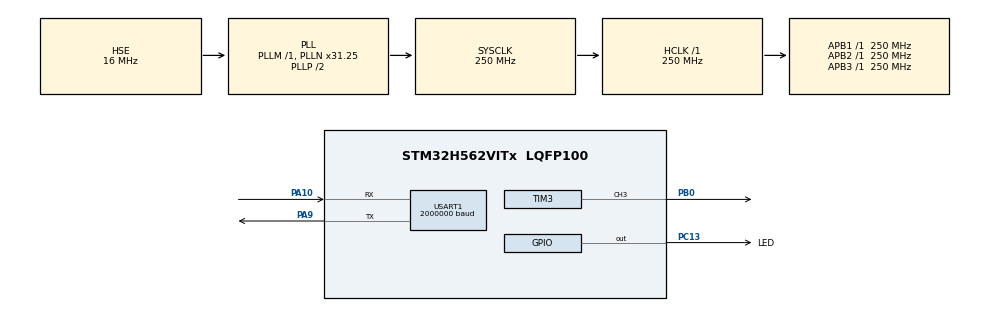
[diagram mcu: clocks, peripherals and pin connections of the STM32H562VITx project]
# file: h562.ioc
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BOOTPATH.BootPathName=LEGACY
BOOTPATH.UserSelectedBootPath=LEGACY
CORTEX_M33_NS.userName=CORTEX_M33
GPDMA1.CIRCULARMODE_GPDMACH0=ENABLE
GPDMA1.DATAHANDLING_GPDMACH0=NONE
GPDMA1.DESTDATAWIDTH_GPDMACH0=DMA_DEST_DATAWIDTH_HALFWORD
GPDMA1.DIRECTION_GPDMACH0=DMA_MEMORY_TO_PERIPH
GPDMA1.IPHANDLE_GPDMACH0-SIMPLEREQUEST_GPDMACH0=__NULL
GPDMA1.REQUEST_GPDMACH0=GPDMA1_REQUEST_TIM3_CH3
GPDMA1.SRCDATAWIDTH_GPDMACH0=DMA_SRC_DATAWIDTH_HALFWORD
GPDMA1.SRCINC_GPDMACH0=DMA_SINC_INCREMENTED
Mcu.Family=STM32H5
Mcu.Name=STM32H562VITx
Mcu.Package=LQFP100
Mcu.UserConstants=LED_CNT,313
NVIC.GPDMA1_Channel0_IRQn=true\:0\:0\:false\:false\:true\:false\:true\:true
NVIC.PriorityGroup=NVIC_PRIORITYGROUP_4
PA10.Mode=Asynchronous
PA10.Signal=USART1_RX
PA13(JTMS/SWDIO).Mode=Trace_Asynchronous_SW
PA13(JTMS/SWDIO).Signal=DEBUG_JTMS-SWDIO
PA14(JTCK/SWCLK).Mode=Trace_Asynchronous_SW
PA14(JTCK/SWCLK).Signal=DEBUG_JTCK-SWCLK
PA9.Mode=Asynchronous
PA9.Signal=USART1_TX
PB0.GPIO_ModeDefaultPP=GPIO_MODE_AF_PP
PB0.Signal=S_TIM3_CH3
PB3(JTDO/TRACESWO).Mode=Trace_Asynchronous_SW
PB3(JTDO/TRACESWO).Signal=DEBUG_JTDO-SWO
PC13.GPIO_Label=LED
PC13.GPIO_ModeDefaultOutputPP=GPIO_MODE_OUTPUT_OD
PC13.GPIO_PuPd=GPIO_NOPULL
PC13.PinState=GPIO_PIN_SET
PC13.Signal=GPIO_Output
PH0-OSC_IN(PH0).Mode=HSE-External-Oscillator
PH0-OSC_IN(PH0).Signal=RCC_OSC_IN
PH1-OSC_OUT(PH1).Mode=HSE-External-Oscillator
PH1-OSC_OUT(PH1).Signal=RCC_OSC_OUT
ProjectManager.HeapSize=0x200
ProjectManager.StackSize=0x400
ProjectManager.TargetToolchain=STM32CubeIDE
RCC.ADCFreq_Value=250000000
RCC.AHBFreq_Value=250000000
RCC.APB1Freq_Value=250000000
RCC.APB1TimFreq_Value=250000000
RCC.APB2Freq_Value=250000000
RCC.APB2TimFreq_Value=250000000
RCC.APB3Freq_Value=250000000
RCC.CSI_VALUE=4000000
RCC.CortexFreq_Value=250000000
RCC.EPOD_VALUE=16000000
RCC.HCLKFreq_Value=250000000
RCC.HSE_VALUE=16000000
RCC.HSI48_VALUE=48000000
RCC.HSI_VALUE=64000000
RCC.LSE_VALUE=32768
RCC.LSIRC_VALUE=32000
RCC.PLLFRACN=2048
RCC.PLLN=31
RCC.PLLSourceVirtual=RCC_PLL1_SOURCE_HSE
RCC.SYSCLKFreq_VALUE=250000000
RCC.SYSCLKSource=RCC_SYSCLKSOURCE_PLLCLK
RCC.USBFreq_Value=48000000
RCC.VCOOutputFreq_Value=500000000
SH.S_TIM3_CH3.0=TIM3_CH3,PWM Generation3 CH3
TIM3.Channel-PWM\ Generation3\ CH3=TIM_CHANNEL_3
TIM3.PeriodNoDither=LED_CNT
TIM3.Prescaler=0
TIM3.TIM_MasterOutputTrigger=TIM_TRGO_UPDATE
USART1.BaudRate=2000000
USART1.VirtualMode-Asynchronous=VM_ASYNC
VP_BOOTPATH_VS_BOOTPATH.Mode=BP_Activate
VP_CORTEX_M33_NS_VS_Hclk.Mode=Hclk_Mode
VP_GPDMA1_VS_GPDMACH0.Mode=SIMPLEREQUEST_GPDMACH0
VP_ICACHE_VS_ICACHE.Mode=DefaultMode
VP_MEMORYMAP_VS_MEMORYMAP.Mode=CurAppReg
VP_PWR_VS_LPOM.Mode=PowerOptimisation
VP_PWR_VS_SECSignals.Mode=Security/Privilege
VP_TIM3_VS_ClockSourceINT.Mode=Internal
board=custom

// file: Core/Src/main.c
/* USER CODE BEGIN Header */
/**
 ******************************************************************************
 * @file           : main.c
 * @brief          : Main program body
 ******************************************************************************
 * @attention
 *
 * Copyright (c) 2025 Lars Boegild Thomsen <lbthomsen@gmail.com>
 * All rights reserved.
 *
 * This software is licensed under terms that can be found in the LICENSE file
 * in the root directory of this software component.
 * If no LICENSE file comes with this software, it is provided AS-IS.
 *
 ******************************************************************************
 */
/* USER CODE END Header */
#include "main.h"

/* USER CODE BEGIN Includes */
#include <stdio.h>
#include "ws2812_demos.h"
#include "ws2812.h"
/* USER CODE END Includes */

TIM_HandleTypeDef htim3;
DMA_NodeTypeDef Node_GPDMA1_Channel0;
DMA_QListTypeDef List_GPDMA1_Channel0;
DMA_HandleTypeDef handle_GPDMA1_Channel0;

UART_HandleTypeDef huart1;

/* USER CODE BEGIN PV */
ws2812_handleTypeDef ws2812; // The WS2812 panel handler
/* USER CODE END PV */

void SystemClock_Config(void);
static void MX_GPIO_Init(void);
static void MX_GPDMA1_Init(void);
static void MX_ICACHE_Init(void);
static void MX_USART1_UART_Init(void);
static void MX_TIM3_Init(void);

/* USER CODE BEGIN 0 */

int _write(int fd, char *ptr, int len) {
    HAL_StatusTypeDef hstatus;

    if (fd == 1 || fd == 2) {
        hstatus = HAL_UART_Transmit(&huart1, (uint8_t*) ptr, len, HAL_MAX_DELAY);
        if (hstatus == HAL_OK)
            return len;
        else
            return -1;
    }
    return -1;
}

// Done sending first half of the DMA buffer - this can now safely be updated
void HAL_TIM_PWM_PulseFinishedHalfCpltCallback(TIM_HandleTypeDef *htim) {

    if (htim->Instance == TIM3) {
        ws2812_update_buffer(&ws2812, &ws2812.dma_buffer[0]);
    }

}

// Done sending the second half of the DMA buffer - this can now be safely updated
void HAL_TIM_PWM_PulseFinishedCallback(TIM_HandleTypeDef *htim) {

    if (htim->Instance == TIM3) {
        ws2812_update_buffer(&ws2812, &ws2812.dma_buffer[BUFFER_SIZE]);
    }

}

/* USER CODE END 0 */

int main(void)
{

  /* MCU Configuration--------------------------------------------------------*/

  /* Reset of all peripherals, Initializes the Flash interface and the Systick. */
  HAL_Init();

  /* Configure the system clock */
  SystemClock_Config();

  /* Initialize all configured peripherals */
  MX_GPIO_Init();
  MX_GPDMA1_Init();
  MX_ICACHE_Init();
  MX_USART1_UART_Init();
  MX_TIM3_Init();
  /* USER CODE BEGIN 2 */

    printf("WS2812 Demo\n");

    ws2812_init(&ws2812, &htim3, TIM_CHANNEL_3, 64);
    zeroLedValues(&ws2812);

    ws2812_demos_set(&ws2812, 1);

  /* USER CODE END 2 */

  /* Infinite loop */
  /* USER CODE BEGIN WHILE */

    uint32_t now = 0, next_blink = 500, next_tick = 1000, loop_count = 0;

    while (1) {

        now = uwTick;

        if (!(now % 10)) { // Just call every 10th loop
            ws2812_demos_tick(&ws2812);
        }

        if (now >= next_blink) { // Every 500 ms
            HAL_GPIO_TogglePin(LED_GPIO_Port, LED_Pin);
            next_blink = now + 500;
        }

        if (now >= next_tick) { // Every 1000 ms
            printf("Tick %lu (count = %lu dma = %lu dat = %lu)\n", now / 1000, loop_count, ws2812.dma_cbs, ws2812.dat_cbs);
            loop_count = 0;
            next_tick = now + 1000;
        }

        ++loop_count;
    /* USER CODE END WHILE */

    }
}

void SystemClock_Config(void)
{
  RCC_OscInitTypeDef RCC_OscInitStruct = {0};
  RCC_ClkInitTypeDef RCC_ClkInitStruct = {0};

  /** Configure the main internal regulator output voltage
  */
  __HAL_PWR_VOLTAGESCALING_CONFIG(PWR_REGULATOR_VOLTAGE_SCALE0);

  while(!__HAL_PWR_GET_FLAG(PWR_FLAG_VOSRDY)) {}

  /** Initializes the RCC Oscillators according to the specified parameters
  * in the RCC_OscInitTypeDef structure.
  */
  RCC_OscInitStruct.OscillatorType = RCC_OSCILLATORTYPE_HSE;
  RCC_OscInitStruct.HSEState = RCC_HSE_ON;
  RCC_OscInitStruct.PLL.PLLState = RCC_PLL_ON;
  RCC_OscInitStruct.PLL.PLLSource = RCC_PLL1_SOURCE_HSE;
  RCC_OscInitStruct.PLL.PLLM = 1;
  RCC_OscInitStruct.PLL.PLLN = 31;
  RCC_OscInitStruct.PLL.PLLP = 2;
  RCC_OscInitStruct.PLL.PLLQ = 2;
  RCC_OscInitStruct.PLL.PLLR = 2;
  RCC_OscInitStruct.PLL.PLLRGE = RCC_PLL1_VCIRANGE_3;
  RCC_OscInitStruct.PLL.PLLVCOSEL = RCC_PLL1_VCORANGE_WIDE;
  RCC_OscInitStruct.PLL.PLLFRACN = 2048;
  if (HAL_RCC_OscConfig(&RCC_OscInitStruct) != HAL_OK)
  {
    Error_Handler();
  }

  /** Initializes the CPU, AHB and APB buses clocks
  */
  RCC_ClkInitStruct.ClockType = RCC_CLOCKTYPE_HCLK|RCC_CLOCKTYPE_SYSCLK
                              |RCC_CLOCKTYPE_PCLK1|RCC_CLOCKTYPE_PCLK2
                              |RCC_CLOCKTYPE_PCLK3;
  RCC_ClkInitStruct.SYSCLKSource = RCC_SYSCLKSOURCE_PLLCLK;
  RCC_ClkInitStruct.AHBCLKDivider = RCC_SYSCLK_DIV1;
  RCC_ClkInitStruct.APB1CLKDivider = RCC_HCLK_DIV1;
  RCC_ClkInitStruct.APB2CLKDivider = RCC_HCLK_DIV1;
  RCC_ClkInitStruct.APB3CLKDivider = RCC_HCLK_DIV1;

  if (HAL_RCC_ClockConfig(&RCC_ClkInitStruct, FLASH_LATENCY_5) != HAL_OK)
  {
    Error_Handler();
  }

  /** Configure the programming delay
  */
  __HAL_FLASH_SET_PROGRAM_DELAY(FLASH_PROGRAMMING_DELAY_2);
}

static void MX_GPDMA1_Init(void)
{

  /* Peripheral clock enable */
  __HAL_RCC_GPDMA1_CLK_ENABLE();

  /* GPDMA1 interrupt Init */
    HAL_NVIC_SetPriority(GPDMA1_Channel0_IRQn, 0, 0);
    HAL_NVIC_EnableIRQ(GPDMA1_Channel0_IRQn);

}

static void MX_ICACHE_Init(void)
{

  /** Enable instruction cache (default 2-ways set associative cache)
  */
  if (HAL_ICACHE_Enable() != HAL_OK)
  {
    Error_Handler();
  }

}

static void MX_TIM3_Init(void)
{

  TIM_ClockConfigTypeDef sClockSourceConfig = {0};
  TIM_MasterConfigTypeDef sMasterConfig = {0};
  TIM_OC_InitTypeDef sConfigOC = {0};

  htim3.Instance = TIM3;
  htim3.Init.Prescaler = 0;
  htim3.Init.CounterMode = TIM_COUNTERMODE_UP;
  htim3.Init.Period = 313;
  htim3.Init.ClockDivision = TIM_CLOCKDIVISION_DIV1;
  htim3.Init.AutoReloadPreload = TIM_AUTORELOAD_PRELOAD_DISABLE;
  if (HAL_TIM_Base_Init(&htim3) != HAL_OK)
  {
    Error_Handler();
  }
  sClockSourceConfig.ClockSource = TIM_CLOCKSOURCE_INTERNAL;
  if (HAL_TIM_ConfigClockSource(&htim3, &sClockSourceConfig) != HAL_OK)
  {
    Error_Handler();
  }
  if (HAL_TIM_PWM_Init(&htim3) != HAL_OK)
  {
    Error_Handler();
  }
  sMasterConfig.MasterOutputTrigger = TIM_TRGO_UPDATE;
  sMasterConfig.MasterSlaveMode = TIM_MASTERSLAVEMODE_DISABLE;
  if (HAL_TIMEx_MasterConfigSynchronization(&htim3, &sMasterConfig) != HAL_OK)
  {
    Error_Handler();
  }
  sConfigOC.OCMode = TIM_OCMODE_PWM1;
  sConfigOC.Pulse = 0;
  sConfigOC.OCPolarity = TIM_OCPOLARITY_HIGH;
  sConfigOC.OCFastMode = TIM_OCFAST_DISABLE;
  if (HAL_TIM_PWM_ConfigChannel(&htim3, &sConfigOC, TIM_CHANNEL_3) != HAL_OK)
  {
    Error_Handler();
  }
  HAL_TIM_MspPostInit(&htim3);

}

static void MX_USART1_UART_Init(void)
{

  huart1.Instance = USART1;
  huart1.Init.BaudRate = 2000000;
  huart1.Init.WordLength = UART_WORDLENGTH_8B;
  huart1.Init.StopBits = UART_STOPBITS_1;
  huart1.Init.Parity = UART_PARITY_NONE;
  huart1.Init.Mode = UART_MODE_TX_RX;
  huart1.Init.HwFlowCtl = UART_HWCONTROL_NONE;
  huart1.Init.OverSampling = UART_OVERSAMPLING_16;
  huart1.Init.OneBitSampling = UART_ONE_BIT_SAMPLE_DISABLE;
  huart1.Init.ClockPrescaler = UART_PRESCALER_DIV1;
  huart1.AdvancedInit.AdvFeatureInit = UART_ADVFEATURE_NO_INIT;
  if (HAL_UART_Init(&huart1) != HAL_OK)
  {
    Error_Handler();
  }
  if (HAL_UARTEx_SetTxFifoThreshold(&huart1, UART_TXFIFO_THRESHOLD_1_8) != HAL_OK)
  {
    Error_Handler();
  }
  if (HAL_UARTEx_SetRxFifoThreshold(&huart1, UART_RXFIFO_THRESHOLD_1_8) != HAL_OK)
  {
    Error_Handler();
  }
  if (HAL_UARTEx_DisableFifoMode(&huart1) != HAL_OK)
  {
    Error_Handler();
  }

}

static void MX_GPIO_Init(void)
{
  GPIO_InitTypeDef GPIO_InitStruct = {0};

  /* GPIO Ports Clock Enable */
  __HAL_RCC_GPIOC_CLK_ENABLE();
  __HAL_RCC_GPIOH_CLK_ENABLE();
  __HAL_RCC_GPIOB_CLK_ENABLE();
  __HAL_RCC_GPIOA_CLK_ENABLE();

  /*Configure GPIO pin Output Level */
  HAL_GPIO_WritePin(LED_GPIO_Port, LED_Pin, GPIO_PIN_SET);

  /*Configure GPIO pin : LED_Pin */
  GPIO_InitStruct.Pin = LED_Pin;
  GPIO_InitStruct.Mode = GPIO_MODE_OUTPUT_OD;
  GPIO_InitStruct.Pull = GPIO_NOPULL;
  GPIO_InitStruct.Speed = GPIO_SPEED_FREQ_LOW;
  HAL_GPIO_Init(LED_GPIO_Port, &GPIO_InitStruct);

}

void Error_Handler(void)
{
    __disable_irq();
    while (1)
    {
    }
}
